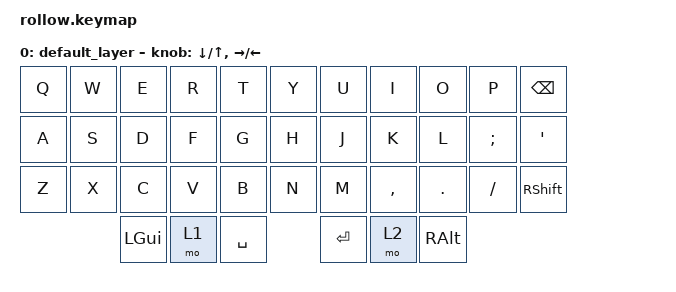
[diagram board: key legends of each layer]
/*
 * Copyright (c) 2020 The ZMK Contributors
 *
 * SPDX-License-Identifier: MIT
 */

#include <behaviors.dtsi>
#include <dt-bindings/zmk/keys.h>
#include <dt-bindings/zmk/bt.h>

#define COL   0
#define COLL  1
#define COLR  2

/ {
        behaviors {
        tp: tap_mods {
            compatible = "zmk,behavior-hold-tap";
            label = "TAP_MODS";
            #binding-cells = <2>;
            tapping_term_ms = <200>;
            flavor = "tap-preferred";
            bindings = <&kp>, <&kp>;
                };
         };


        keymap {
                compatible = "zmk,keymap";

/* Rollow Keyboard Layout
 * .----------------------------------.                    .----------------------------------.
 * |      |      |      |      |      |                    |      |      |      |      |      | 
 * |------+------+------+------+------|                    |------+------+------+------+------|
 * |      |      |      |      |      |                    |      |      |      |      |      |   
 * |------+------+------+------+------|                    |------+------+------+------+------|
 * |      |      |      |      |      |                    |      |      |      |      |      |
 * '----------------------------------+-------,     ,------+----------------------------------'
 *                   |      |      | /       /       \      \  |      |      |
 *                   |      |      |/       /         \      \ |      |      |
 *                   '-------------''------'           '------''-------------'
 */



                default_layer {
/*
 * Base Layer: Hands Down Gold (Neu-tx)
 *
 * ,----------------------------------.                              ,----------------------------------.
 * |   J  |   G  |   M  |   P  |   V  |                              |  ; : |  , < |  . > | / ?  | \ |  |
 * |------+------+------+------+------|                              |------+------+------+------+------|
 * |   R  |   S  |   N  |   D  |   B  |                              |   &  |   A  |   E  |   I  |   H  | 
 * |------+------+------+------+------|                              |------+------+------+------+------|
 * |   X  |   F  |   L  |   C  |   W  |                              | - _  |   U  |   O  |   Y  |   K  |
 * `------+------+------+------+------|------.                ,------|------+------+------+-------------'
 *                      |PGUPDN|Bckspc|  T   |                |Enter |Space |Vol   |
 *                      |Esc   |SYM   | NAV  |                |SYM   |NAV   |Delete|
 *                      |NUM   |      |      |                |      |      |FUN   |
 *                      `--------------------'                `--------------------'
 *
 *   Encoder Left: Up <-> Down
 *   Encoder Right: Left <-> Right
 */
                        bindings = <
    &kp Q &kp W &kp E &kp R &kp T   &kp Y &kp U  &kp I     &kp O   &kp P    &kp BSPC
    &kp A &kp S &kp D &kp F &kp G   &kp H &kp J  &kp K     &kp L   &kp SEMI &kp SQT
    &kp Z &kp X &kp C &kp V &kp B   &kp N &kp M  &kp COMMA &kp DOT &kp FSLH &kp RSHFT
                  &kp LGUI &mo 1 &kp SPACE   &kp RET &mo 2 &kp RALT
                        >;

                        sensor-bindings = <&inc_dec_kp DOWN UP &inc_dec_kp RIGHT LEFT>;
                };
/* Extra
 * .----------------------------------.                    .----------------------------------.
 * |   Q  |   W  |   E  |   R  |   T  |                    |   Y  |   U  |   I  |   O  |   P  | 
 * |------+------+------+------+------|                    |------+------+------+------+------|
 * |   A  |   S  |   D  |   F  |   G  |                    |   H  |   J  |   K  |   L  |   ;  |   
 * |------+------+------+------+------|                    |------+------+------+------+------|
 * |   Z  |   X  |   C  |   V  |   B  |--------.   .-------|   N  |   M  |   ,  |   .  |      |
 * '------------------------------------------/     \      \----------------------------------'
 *                   |  GUI |  LWR | / Space /       \ Space\  |TT(RS)| Tab  |
 *                   |      |      |/       /         \      \ |      |      |
 *                   '-------------''------'           '------''-------------'
 *
 *   Encoder Left: Up <-> Down
 *   Encoder Right: Left <-> Right
 */
                        bindings = <
   &kp TAB   &kp Q &kp W &kp E &kp R &kp T   &kp Y &kp U  &kp I     &kp O   &kp P    &kp BSPC
   &kp LCTRL &kp A &kp S &kp D &kp F &kp G   &kp H &kp J  &kp K     &kp L   &kp SEMI &kp SQT
   &kp LSHFT &kp Z &kp X &kp C &kp V &kp B   &kp N &kp M  &kp COMMA &kp DOT &kp FSLH &kp RSHFT
                  &kp LGUI &mo 1 &kp SPACE   &kp RET &mo 2 &kp RALT
                        >;

                        sensor-bindings = <&inc_dec_kp DOWN UP &inc_dec_kp RIGHT LEFT>;
                };

                lower_layer {
/* LOWER
 * .-----------------------------------------.                    .-----------------------------------------.
 * |  ESC |   1  |  2   |  3   |  4   |  5   |                    |   6  |   7  |   8  |   9  |   0  | BKSP |
 * |------+------+------+------+------+------|                    |------+------+------+------+------+------|
 * | BTCLR| BT1  | BT2  | BT3  | BT4  | BT5  |                    |  LFT |  DWN |   UP |  RGT |      |      |
 * |------+------+------+------+------+------|                    |------+------+------+------+------+------|
 * | SHFT |      |      |      |      |      |-------.    .-------|      |      |      |      |      |      |
 * '-----------------------------------------/       /     \      \-----------------------------------------'
 *                          |  GUI |      | / Space /       \ Enter\  |      |  ALT |
 *                          |      |      |/       /         \      \ |      |      |
 *                          '-------------''------'           '------''-------------'
 * 
 *   Encoder Left: PG_UP <-> PG_DN
 *   Encoder Right: -
 */
                        bindings = <
   &kp ESC    &kp N1       &kp N2       &kp N3       &kp N4       &kp N5            &kp N6   &kp N7   &kp N8 &kp N9    &kp N0 &kp BSPC
   &bt BT_CLR &bt BT_SEL 0 &bt BT_SEL 1 &bt BT_SEL 2 &bt BT_SEL 3 &bt BT_SEL 4      &kp LEFT &kp DOWN &kp UP &kp RIGHT &trans &trans
   &kp LSHFT  &trans       &trans       &trans       &trans       &trans            &trans   &trans   &trans &trans    &trans &trans
                                        &kp LGUI     &trans       &kp SPACE         &kp RET &trans &kp RALT
                            >;

                            sensor-bindings = <&inc_dec_kp PG_UP PG_DN &inc_dec_kp PG_UP PG_DN>;
                };

                raise_layer {
/* RAISE
 * .-----------------------------------------.                    .-----------------------------------------.
 * | ESC  |   !  |   @  |   #  |   $  |   %  |                    |   ^  |   &  |   *  |   (  |   )  | BKSP |
 * |------+------+------+------+------+------|                    |------+------+------+------+------+------|
 * | CTRL |      |      | Prev | Next |      |                    |   -  |   =  |   {  |   }  |  "|" |   `  |
 * |------+------+------+------+------+------|                    |------+------+------+------+------+------|
 * | SHFT |      |      |      |      |      |-------.    .-------|   _  |   +  |   [  |   ]  |   \  |   ~  |
 * '-----------------------------------------/       /     \      \-----------------------------------------'
 *                          | Play |      | / Space /       \ Enter\  |      |  ALT |
 *                          | Paus |      |/       /         \      \ |      |      |
 *                          '------------''------'            '------''-------------'
 *
 *   Encoder Left: -
 *   Encoder Right: VOL_UP <-> VOL_D
 */
                        bindings = <
    &kp  ESC  &kp EXCL  &kp AT  &kp HASH   &kp DLLR   &kp PRCNT   &kp CARET &kp AMPS  &kp KP_MULTIPLY &kp LPAR &kp RPAR &kp BSPC
    &kp LCTRL &trans    &trans  &kp C_PREV &kp C_NEXT &trans      &kp MINUS &kp EQUAL &kp LBKT        &kp RBKT &kp PIPE &kp GRAVE
    &kp LSHFT &trans    &trans  &trans     &trans     &trans      &trans    &trans    &trans          &trans   &kp BSLH &kp TILDE
                                   &kp LGUI &trans &kp SPACE   &kp RET &trans &kp RALT
                        >;
   
                        sensor-bindings = <&inc_dec_kp C_VOL_UP C_VOL_DN &inc_dec_kp PG_UP PG_DN>;
                };
 
        };
};
